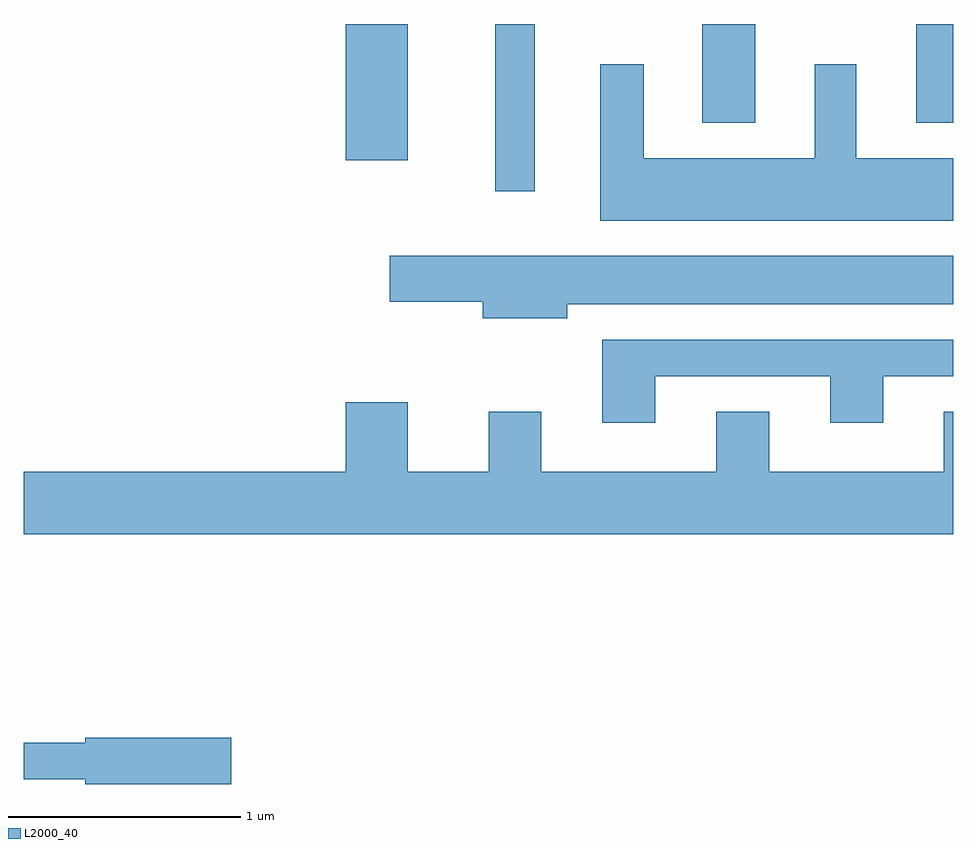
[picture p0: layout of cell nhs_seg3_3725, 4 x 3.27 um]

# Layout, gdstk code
import gdstk
lib = gdstk.Library(unit=1e-6, precision=1e-09)
def R(c, l, rs):  # rectangles x0, y0, x1, y1
    for r in rs: c.add(gdstk.rectangle(r[:2], r[2:], *l))
def P(c, l, *ps):  # polygons
    for p in ps: c.add(gdstk.Polygon(p, *l))
L2000_40 = (2000, 40)

nhs_seg3_3725 = lib.new_cell('nhs_seg3_3725')
R(nhs_seg3_3725, L2000_40, [(295.641,1225.173,295.809,1225.892), (294.996,1225.306,295.264,1225.892), (296.531,1225.466,296.759,1225.892), (297.451,1225.466,297.611,1225.892)])
P(nhs_seg3_3725, L2000_40, [(297.611,1225.314),(297.194,1225.314),(297.194,1225.719),(297.016,1225.719),(297.016,1225.314),(296.279,1225.314),(296.279,1225.719),(296.091,1225.719),(296.091,1225.046),(297.611,1225.046)],
  [(295.949,1224.686),(297.611,1224.686),(297.611,1224.894),(295.186,1224.894),(295.186,1224.696),(295.586,1224.696),(295.586,1224.626),(295.949,1224.626)],
  [(296.329,1224.376),(297.081,1224.376),(297.081,1224.176),(297.309,1224.176),(297.309,1224.376),(297.611,1224.376),(297.611,1224.534),(296.101,1224.534),(296.101,1224.176),(296.329,1224.176)],
  [(297.611,1224.224),(297.571,1224.224),(297.571,1223.964),(296.819,1223.964),(296.819,1224.224),(296.591,1224.224),(296.591,1223.964),(295.839,1223.964),(295.839,1224.224),(295.611,1224.224),(295.611,1223.964),(295.264,1223.964),(295.264,1224.264),(294.996,1224.264),(294.996,1223.964),(293.611,1223.964),(293.611,1223.696),(297.611,1223.696)],
  [(294.504,1222.819),(293.876,1222.819),(293.876,1222.799),(293.611,1222.799),(293.611,1222.641),(293.876,1222.641),(293.876,1222.621),(294.504,1222.621)])

lib.write_gds('nhs_seg3_3725.gds')
